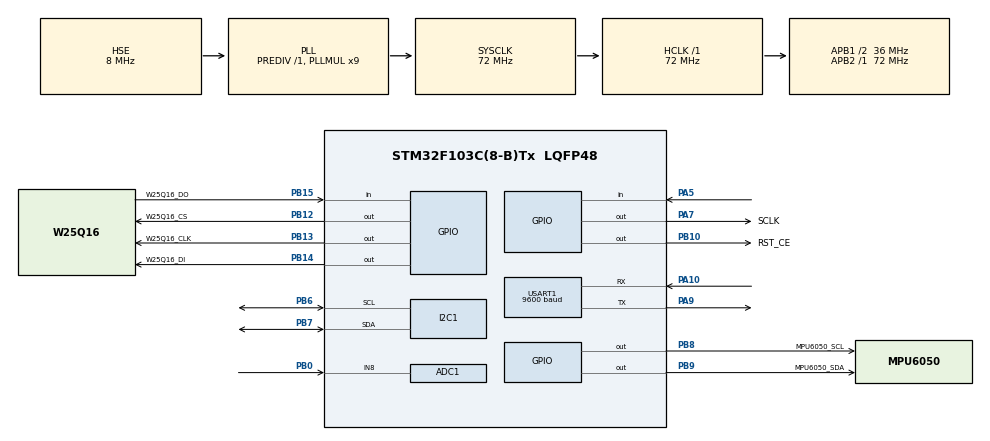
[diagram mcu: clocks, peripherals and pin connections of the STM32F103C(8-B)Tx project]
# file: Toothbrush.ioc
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ADC1.Channel-0\#ChannelRegularConversion=ADC_CHANNEL_8
ADC1.NbrOfConversionFlag=1
ADC1.Rank-0\#ChannelRegularConversion=1
ADC1.SamplingTime-0\#ChannelRegularConversion=ADC_SAMPLETIME_55CYCLES_5
ADC1.master=1
Dma.ADC1.0.Direction=DMA_PERIPH_TO_MEMORY
Dma.ADC1.0.Instance=DMA1_Channel1
Dma.ADC1.0.MemDataAlignment=DMA_MDATAALIGN_HALFWORD
Dma.ADC1.0.MemInc=DMA_MINC_ENABLE
Dma.ADC1.0.Mode=DMA_CIRCULAR
Dma.ADC1.0.PeriphDataAlignment=DMA_PDATAALIGN_HALFWORD
Dma.ADC1.0.PeriphInc=DMA_PINC_DISABLE
Dma.ADC1.0.Priority=DMA_PRIORITY_LOW
Dma.Request0=ADC1
I2C1.I2C_Mode=I2C_Fast
Mcu.Family=STM32F1
Mcu.Name=STM32F103C(8-B)Tx
Mcu.Package=LQFP48
NVIC.DMA1_Channel1_IRQn=true\:0\:0\:false\:false\:true\:false\:true\:true
NVIC.PriorityGroup=NVIC_PRIORITYGROUP_4
NVIC.USART1_IRQn=true\:0\:0\:false\:false\:true\:true\:true\:true
PA10.Mode=Asynchronous
PA10.Signal=USART1_RX
PA13.Mode=Serial_Wire
PA13.Signal=SYS_JTMS-SWDIO
PA14.Mode=Serial_Wire
PA14.Signal=SYS_JTCK-SWCLK
PA5.Signal=GPIO_Input
PA7.GPIO_Label=SCLK
PA7.Signal=GPIO_Output
PA9.Mode=Asynchronous
PA9.Signal=USART1_TX
PB0.Signal=ADCx_IN8
PB10.GPIO_Label=RST_CE
PB10.Signal=GPIO_Output
PB12.GPIO_Label=W25Q16_CS
PB12.Signal=GPIO_Output
PB13.GPIO_Label=W25Q16_CLK
PB13.Signal=GPIO_Output
PB14.GPIO_Label=W25Q16_DI
PB14.Signal=GPIO_Output
PB15.GPIO_Label=W25Q16_DO
PB15.GPIO_PuPd=GPIO_PULLUP
PB15.Signal=GPIO_Input
PB6.Mode=I2C
PB6.Signal=I2C1_SCL
PB7.Mode=I2C
PB7.Signal=I2C1_SDA
PB8.GPIO_Label=MPU6050_SCL
PB8.Signal=GPIO_Output
PB9.GPIO_Label=MPU6050_SDA
PB9.Signal=GPIO_Output
PD0-OSC_IN.Mode=HSE-External-Oscillator
PD0-OSC_IN.Signal=RCC_OSC_IN
PD1-OSC_OUT.Mode=HSE-External-Oscillator
PD1-OSC_OUT.Signal=RCC_OSC_OUT
ProjectManager.HeapSize=0x200
ProjectManager.StackSize=0x400
ProjectManager.TargetToolchain=MDK-ARM V5.32
RCC.ADCPresc=RCC_ADCPCLK2_DIV6
RCC.AHBFreq_Value=72000000
RCC.APB1CLKDivider=RCC_HCLK_DIV2
RCC.APB1Freq_Value=36000000
RCC.APB1TimFreq_Value=72000000
RCC.APB2Freq_Value=72000000
RCC.APB2TimFreq_Value=72000000
RCC.HCLKFreq_Value=72000000
RCC.PLLMUL=RCC_PLL_MUL9
RCC.PLLSourceVirtual=RCC_PLLSOURCE_HSE
RCC.SYSCLKFreq_VALUE=72000000
RCC.SYSCLKSource=RCC_SYSCLKSOURCE_PLLCLK
RCC.USBFreq_Value=72000000
SH.ADCx_IN8.0=ADC1_IN8,IN8
USART1.BaudRate=9600
USART1.VirtualMode=VM_ASYNC
board=custom

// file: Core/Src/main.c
/* USER CODE BEGIN Header */
/**
  ******************************************************************************
  * @file           : main.c
  * @brief          : Main program body
  ******************************************************************************
  * @attention
  *
  * Copyright (c) 2024 STMicroelectronics.
  * All rights reserved.
  *
  * This software is licensed under terms that can be found in the LICENSE file
  * in the root directory of this software component.
  * If no LICENSE file comes with this software, it is provided AS-IS.
  *
  ******************************************************************************
  */
/* USER CODE END Header */
#include "main.h"
#include "adc.h"
#include "dma.h"
#include "i2c.h"
#include "usart.h"
#include "gpio.h"

/* USER CODE BEGIN Includes */

#include "IIC.h"
#include "mpu6050.h"
#include "inv_mpu.h"
#include "inv_mpu_dmp_motion_driver.h"
#include "stdio.h"
#include "string.h"
#include "math.h"
#include "Anonymous.h"
#include "Kalman.h"
#include "Read_attitude.h"
#include "Percentage_res.h"
#include "oled.h"
#include "oledfont.h"
#include "KEY.h"
#include "Interface.h"
#include "DS1302.h"
#include "Show_DS1302_Data.h"
#include "W25Q16.h"
#include "W25Q16_Ins.h"

/* USER CODE END Includes */

/* USER CODE BEGIN PTD */
  float pitch,roll,yaw; 		    //y-?
  short aacx,aacy,aacz;			//???????'??
  short gyrox,gyroy,gyroz;		//G???'??
	float	Accel_Angle_x ,Accel_Angle_y;
  extern float roll_kalman ;
	extern uint8_t Grame[8][128] ;

/* USER CODE END PTD */

/* USER CODE BEGIN PD */
extern uint8_t RxBuffer[1];//??????
uint16_t P,I,D;
	float t1 = 0;
	float t2 = 0;
uint16_t ADC_Value[4];
uint32_t RES_value;
float Voltage_value;
uint8_t Key_num=0;
uint8_t Switch_Interface=0;

int  Percentage_tx;

uint8_t MID;  //工厂ID
uint16_t DID;//设备ID

uint8_t arrWrite[] = { 6,1,8,5 };//要写入的数据
uint8_t arrRead[4];  //存储读取到的数据的数组
/* USER CODE END PD */

void SystemClock_Config(void);

/* USER CODE BEGIN 0 */
//???
int fputc(int c,FILE *stream)
{
	uint8_t ch[1]={c};
	HAL_UART_Transmit(&huart1,ch,1,0xFFFF);
	return c;
}

/*
 * ???DataBuff????
 * ?????????
 */

/* USER CODE END 0 */

int main(void)
{

  /* MCU Configuration--------------------------------------------------------*/

  /* Reset of all peripherals, Initializes the Flash interface and the Systick. */
  HAL_Init();

  /* Configure the system clock */
  SystemClock_Config();

  /* Initialize all configured peripherals */
  MX_GPIO_Init();
  MX_DMA_Init();
  MX_USART1_UART_Init();
  MX_ADC1_Init();
  MX_I2C1_Init();
  /* USER CODE BEGIN 2 */
  W25Q16_Init	();
//	DS1302_Init();//初始化时间日期
	DS1302_read_realTime();//读取实时时间
	MPU_Init();			//MPU6050?'?
	mpu_dmp_init();		//dmp?'?
  HAL_UART_Receive_IT(&huart1,(uint8_t *)RxBuffer,1);//
  OLED_Init();                           //OLED初始
  OLED_Clear();                         //清屏
  OLED_WR_CMD(0x2e);//停止滚动

  /* USER CODE END 2 */

  /* Infinite loop */
  while (1)
  {

    /* USER CODE BEGIN 3 */
//      Show_DS1302_Data(0,0,0,16);
//		OLED_ShowNum(0,0,TimeData.year,4,16,0);
//		OLED_ShowString_Fast(53,0,"R_x:",12,0,3);
//		OLED_ShowNum(0,0,TimeData.year,4,16,0);
//		OLED_ShowNum(0,0,TimeData.year,4,16,0);
	  //该行在memset(Grame, 0, 8*128);前会好一点，不容易出现OLED画面不动
		DS1302_read_realTime(); //读取十进制的实时时间和日期

//		OLED_ShowNumber_Fast(50,30,0,3,16,0);
		Show_W25Q16_Data();
		Key_num = KEY_Scan();
//		if(Key_num == 1)
//		{
//			Switch_Interface++;
//			if(Switch_Interface>3)
//			{
//				Switch_Interface =0;
//			}
//		}
//		if(Switch_Interface == 0)
//			Angle_Interface();
//		else if(Switch_Interface == 1)
//			Gyro_Interface();
//		else if(Switch_Interface == 2)
//			Acc_Interface();
//		else if(Switch_Interface == 3)
//			RES_Interface();

//		Read_attitude();
//		Percentage_tx = Percentage_res();
//		sent_data1(-roll*100,-pitch*100,-yaw*100,9);//串口发送数据到匿名上位机
      printf("%2d ,%2d  ,%2d\n",TimeData.hour ,TimeData.minute ,TimeData.second);
  }
  /* USER CODE END 3 */
}

void SystemClock_Config(void)
{
  RCC_OscInitTypeDef RCC_OscInitStruct = {0};
  RCC_ClkInitTypeDef RCC_ClkInitStruct = {0};
  RCC_PeriphCLKInitTypeDef PeriphClkInit = {0};

  /** Initializes the RCC Oscillators according to the specified parameters
  * in the RCC_OscInitTypeDef structure.
  */
  RCC_OscInitStruct.OscillatorType = RCC_OSCILLATORTYPE_HSE;
  RCC_OscInitStruct.HSEState = RCC_HSE_ON;
  RCC_OscInitStruct.HSEPredivValue = RCC_HSE_PREDIV_DIV1;
  RCC_OscInitStruct.HSIState = RCC_HSI_ON;
  RCC_OscInitStruct.PLL.PLLState = RCC_PLL_ON;
  RCC_OscInitStruct.PLL.PLLSource = RCC_PLLSOURCE_HSE;
  RCC_OscInitStruct.PLL.PLLMUL = RCC_PLL_MUL9;
  if (HAL_RCC_OscConfig(&RCC_OscInitStruct) != HAL_OK)
  {
    Error_Handler();
  }

  /** Initializes the CPU, AHB and APB buses clocks
  */
  RCC_ClkInitStruct.ClockType = RCC_CLOCKTYPE_HCLK|RCC_CLOCKTYPE_SYSCLK
                              |RCC_CLOCKTYPE_PCLK1|RCC_CLOCKTYPE_PCLK2;
  RCC_ClkInitStruct.SYSCLKSource = RCC_SYSCLKSOURCE_PLLCLK;
  RCC_ClkInitStruct.AHBCLKDivider = RCC_SYSCLK_DIV1;
  RCC_ClkInitStruct.APB1CLKDivider = RCC_HCLK_DIV2;
  RCC_ClkInitStruct.APB2CLKDivider = RCC_HCLK_DIV1;

  if (HAL_RCC_ClockConfig(&RCC_ClkInitStruct, FLASH_LATENCY_2) != HAL_OK)
  {
    Error_Handler();
  }
  PeriphClkInit.PeriphClockSelection = RCC_PERIPHCLK_ADC;
  PeriphClkInit.AdcClockSelection = RCC_ADCPCLK2_DIV6;
  if (HAL_RCCEx_PeriphCLKConfig(&PeriphClkInit) != HAL_OK)
  {
    Error_Handler();
  }
}

void Error_Handler(void)
{
  __disable_irq();
  while (1)
  {
  }
}
